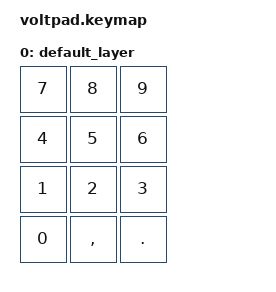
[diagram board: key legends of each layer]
/*
 * Copyright (c) 2020 The ZMK Contributors
 *
 * SPDX-License-Identifier: MIT
 */
 
#include <behaviors.dtsi>
#include <dt-bindings/zmk/keys.h>
#include <dt-bindings/zmk/outputs.h>

/ {
    keymap {
        compatible = "zmk,keymap";

        default_layer {
            bindings = <
    &kp N7    &kp N8    &kp N9    
    &kp N4    &kp N5    &kp N6                                        
    &kp N1    &kp N2    &kp N3    
    &kp N0    &kp COMMA &kp DOT
            >;
        };
    };
};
